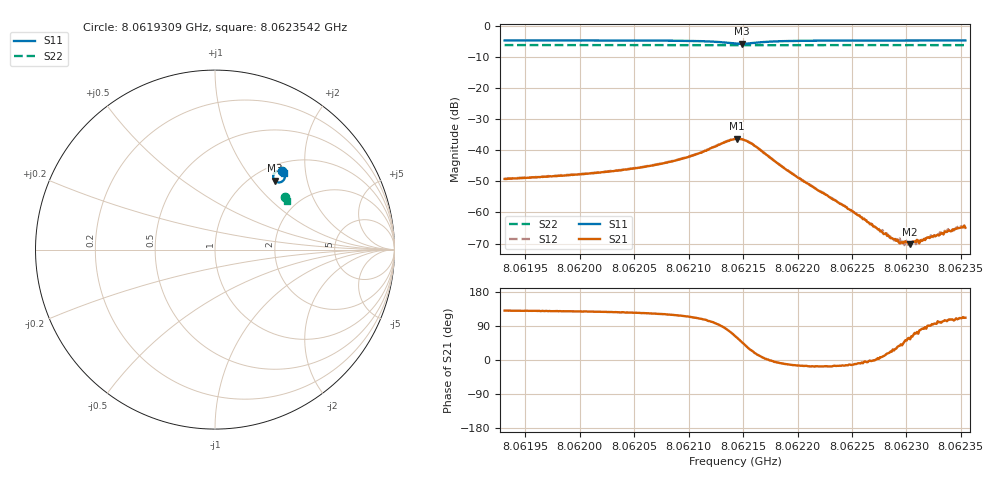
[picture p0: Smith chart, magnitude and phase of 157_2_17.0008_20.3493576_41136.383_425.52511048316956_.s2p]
#  HZ  S  RI  R  50.00
! Rohde & Schwarz Vector Network Analyzer
! Rohde-Schwarz,ZNB20-2Port,1311601062101988,3.16
! Created: UTC 3/20/2024, 10:59:05 PM
! freq[Hz]  re:S11  im:S11  re:S21  im:S21  re:S12  im:S12  re:S22  im:S22
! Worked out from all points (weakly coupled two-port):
!   401 points, 8.0619309 GHz to 8.0623542 GHz, reference 50 ohm
!   highest |S21| = -36.36 dB at 8.0621447 GHz (marker M1); lowest = -70.2 dB at 8.0623034 GHz (marker M2)
!   lowest |S11| = -5.9 dB at 8.0621489 GHz (marker M3), VSWR 3.07, Z = 62.6 + j64.9 ohm
!   |S11| at or under -10 dB: nowhere
!   |S22| runs from -6.3 to -6.3 dB; largest |S21 - S12| = 0.0011
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8.06193091e9  0.3718 0.4395  -0.00224 0.00262  -0.0021 0.00281  0.3873 0.2923
8.06200181e9  0.3778 0.4337  -0.00252 0.00324  -0.00237 0.00342  0.3899 0.2888
8.06203884e9  0.3815 0.4292  -0.00282 0.00387  -0.00258 0.00411  0.3911 0.2869
8.06207271e9  0.3856 0.4226  -0.00312 0.00506  -0.00284 0.00529  0.3923 0.285
8.06210234e9  0.3889 0.4109  -0.00319 0.00738  -0.00276 0.00765  0.3932 0.2831
8.06212668e9  0.3828 0.3879  -0.000896 0.012  -0.000172 0.0121  0.3932 0.2811
8.06214255e9  0.3509 0.375  0.00671 0.0135  0.00757 0.0132  0.3923 0.2803
8.06214466e9  0.3445 0.3768  0.00798 0.0129  0.0088 0.0125  0.392 0.2803
8.0621489e9  0.3334 0.3843  0.0103 0.0109  0.0109 0.0103  0.3918 0.2805
8.06216054e9  0.3252 0.4151  0.0111 0.00373  0.0114 0.00315  0.3923 0.2816
8.06218593e9  0.3498 0.4387  0.00535 -0.000857  0.00532 -0.0012  0.3946 0.281
8.06221345e9  0.3642 0.4388  0.00251 -0.000742  0.00247 -0.000923  0.3961 0.2796
8.06225472e9  0.3739 0.4353  0.000903 -0.000155  0.000934 -0.000228  0.3977 0.2774
8.06228435e9  0.3781 0.4329  0.000391 0.000136  0.000383 0.000106  0.3988 0.2756
8.06229493e9  0.3793 0.4322  0.000249 0.00022  0.000266 0.000181  0.399 0.2752
8.06230022e9  0.3799 0.4318  0.000207 0.000259  0.00019 0.000289  0.3993 0.275
8.06230339e9  0.3802 0.4317  0.000178 0.000252  0.000167 0.00028  0.3993 0.2747
8.0623108e9  0.3811 0.4311  0.000123 0.000323  8.58e-05 0.000345  0.3996 0.2742
8.06232985e9  0.3827 0.4298  -7.03e-05 0.00042  -5.63e-05 0.000429  0.4004 0.2734
8.06234466e9  0.3841 0.4288  -0.000154 0.000522  -0.000127 0.000517  0.4008 0.2728
8.06234784e9  0.3845 0.4285  -0.00018 0.00053  -0.000178 0.000575  0.4009 0.2725
8.06235419e9  0.3849 0.4281  -0.000209 0.000529  -0.000196 0.000578  0.4011 0.2721
